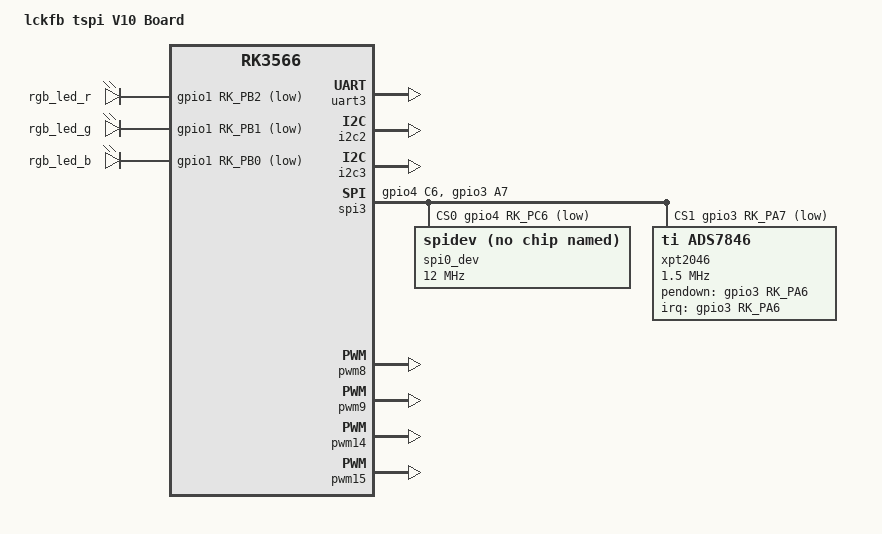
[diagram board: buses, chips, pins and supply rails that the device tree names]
// SPDX-License-Identifier: (GPL-2.0+ OR MIT)
/*
 * Copyright (c) 2020 Rockchip Electronics Co., Ltd.
 *
 */

 /*********************************************************************
 *           立创开发板不靠卖板赚钱，以培养中国工程师为己任  
 *         泰山派软硬件资料与相关扩展板软硬件资料官网全部开源
 *                      开发板官网：www.lckfb.com            
 *                     立创论坛：oshwhub.com/forum           
 *            关注B站：【立创开发板】，掌握我们的最新动态！  
 *********************************************************************
 * 文件名：tspi-rk3566-user-v10.dtsi
 * 描述：用户自定义层
 * 更新:
 * 时间          作者           联系           说明
 * 2023-09-13   吴才成    1378913492@qq.com   v1.0.0
 *********************************************************************/
/dts-v1/;

#include <dt-bindings/gpio/gpio.h>
#include <dt-bindings/display/media-bus-format.h>
#include <dt-bindings/pinctrl/rockchip.h>
#include "rk3566.dtsi"
#include <dt-bindings/display/rockchip_vop.h>


//tspi核心配置层，这里是几乎后期不需要怎么改动
#include "tspi-rk3566-core-v10.dtsi"

//【开/关】EDP 显示屏幕配置，用户可以基于此复制自己的屏幕，注意EDP与MIPI屏幕互斥，因为共用了VOP如果需要同显自行修改
// #include "tspi-rk3566-edp-v10.dtsi"

//【开/关】mipi 显示屏幕配置，用户可以基于此复制自己的屏幕，注意EDP与MIPI屏幕互斥，因为共用了VOP如果需要同显自行修改
// #include "tspi-rk3566-dsi-v10.dtsi"

//【开/关】HDMI 显示屏幕配置，里面内容几乎可以不用动，如果不需要hdmi显示直接注释掉即可
#include "tspi-rk3566-hdmi-v10.dtsi"

//【开/关】摄像头 目前视频的是ov5659
#include "tspi-rk3566-csi-v10.dtsi"

//【开/关】下方是用户定义层，所有用户修改理论上在此下方修改就好了
/ {
	model = "lckfb tspi V10 Board";
	compatible = "lckfb,tspi-v10", "rockchip,rk3566";

	rk_headset: rk-headset {
		compatible = "rockchip_headset";
		headset_gpio = <&gpio0 RK_PC5 GPIO_ACTIVE_HIGH>;
		pinctrl-names = "default";
		pinctrl-0 = <&hp_det>;
	};

	leds: leds {
		compatible = "gpio-leds";
		rgb_led_r: rgb-led-r {
			gpios = <&gpio1 RK_PB2 GPIO_ACTIVE_LOW>;
			linux,default-trigger = "timer";
			linux,delay-reg = <0>;   		// 延时注册
			linux,blink-delay-on = <500>; 	// 打开时间
			linux,blink-delay-off = <500>;	// 关闭时间
		};
		rgb_led_g: rgb-led-g {
			gpios = <&gpio1 RK_PB1 GPIO_ACTIVE_LOW>;
			linux,default-trigger = "timer";
			linux,delay-reg = <100>;   		// 延时注册
			linux,blink-delay-on = <1000>; 
			linux,blink-delay-off = <1000>;
		};
		rgb_led_b: rgb-led-b {
			gpios = <&gpio1 RK_PB0 GPIO_ACTIVE_LOW>;
			linux,default-trigger = "timer";
			linux,delay-reg = <100>;  		// 延时注册
			linux,blink-delay-on = <1500>; 
			linux,blink-delay-off = <1500>;
		};
	};

};

&pinctrl {
	headphone {
		hp_det: hp-det {
			rockchip,pins = <0 RK_PC5 RK_FUNC_GPIO &pcfg_pull_none>;
		};
	};

	xpt2046-touchscreen {
		xpt2046_int_pin: xpt2046-int-pin {
			rockchip,pins = <3 RK_PA5 RK_FUNC_GPIO &pcfg_pull_none>;
		};
	};

	spi3 {
		spi3_cs0n: spi3-cs0n {
			rockchip,pins = <4 RK_PC6 RK_FUNC_GPIO &pcfg_pull_up_drv_level_2>;
		};

		spi3_cs1n: spi3-cs1n {
			rockchip,pins = <3 RK_PA7 RK_FUNC_GPIO &pcfg_pull_up_drv_level_2>;
		};
	};
};

//用户三色灯
&leds {
	status = "okay";
};

//耳机插入检测，不使用扩展板情况需关闭，否则默认会检测到耳机插入
&rk_headset {
	status = "disabled";
};

//用户串口3
&uart3 {
	status = "okay";
	pinctrl-names = "default";
	pinctrl-0 = <&uart3m1_xfer>;
};

//用户I2C2
&i2c2 {
	status = "okay";

	/*添加你的I2C设备参考
	gt1x: gt1x@14 {
		compatible = "goodix,gt1x";
		reg = <0x14>;
		pinctrl-names = "default";
		pinctrl-0 = <&touch_gpio>;
		goodix,rst-gpio = <&gpio0 RK_PB6 GPIO_ACTIVE_HIGH>;
		goodix,irq-gpio = <&gpio0 RK_PB5 IRQ_TYPE_LEVEL_LOW>;
	};*/
};

&i2c3 {
	status = "okay";
	pinctrl-names = "default";
	pinctrl-0 = <&i2c3m1_xfer>;
	/*添加你的I2C设备参考
	gt1x: gt1x@14 {
		compatible = "goodix,gt1x";
		reg = <0x14>;
		pinctrl-names = "default";
		pinctrl-0 = <&touch_gpio>;
		goodix,rst-gpio = <&gpio0 RK_PB6 GPIO_ACTIVE_HIGH>;
		goodix,irq-gpio = <&gpio0 RK_PB5 IRQ_TYPE_LEVEL_LOW>;
	};*/
};


&spi3 {
	status = "okay";
	max-freq = <48000000>;
	dma-names = "tx","rx";
	pinctrl-names = "default", "high_speed";
	pinctrl-0 = <&spi3_cs0n &spi3_cs1n &spi3m1_pins>;
	pinctrl-1 = <&spi3_cs0n &spi3_cs1n &spi3m1_pins_hs>;
	cs-gpios = <&gpio4 RK_PC6 GPIO_ACTIVE_LOW>, <&gpio3 RK_PA7 GPIO_ACTIVE_LOW>;
    
	spi0_dev@0 {
        compatible = "rockchip,spidev";
        reg = <0>;
        spi-max-frequency = <12000000>;
        spi-lsb-first;
		status = "okay";
    };

	xpt2046@1 {
		pinctrl-names = "default";
		pinctrl-0 = <&xpt2046_int_pin>;
		reg = <1>;
		compatible = "ti,ads7846";
		interrupt-parent = <&gpio3>;
		interrupts = <RK_PA6 0>;
		spi-max-frequency = <1500000>;
		pendown-gpio = <&gpio3 RK_PA6 0>;
		ti,x-min = /bits/ 16 <0>;
		ti,x-max = /bits/ 16 <0xfff>;
		ti,y-min = /bits/ 16 <0>;
		ti,y-max = /bits/ 16 <0xfff>;
		ti,x-plate-ohms = /bits/ 16 <180>;
		ti,pressure-max = /bits/ 16 <512>;
		ti,debounce-max = /bits/ 16 <10>;
		ti,debounce-tol = /bits/ 16 <30>;
		ti,debounce-rep = /bits/ 16 <1>;
		ti,settle-delay-usec = /bits/ 16 <150>;
		ti,keep-vref-on = <1>;
		/*
		 * Do not set to wakeup source,
		 * cause TL3568-EVM board will make xpt2046
		 * int pin level change when suspend, this
		 * will auto resume TL3568-EVM board.
		 */
		/delete-property/ linux,wakeup;
		/delete-property/ wakeup-source;
	};
};

&pwm8 {
	status = "okay";
};

&pwm9 {
	status = "okay";
};

&pwm14 {
	status = "okay";
};

//pwd 15遥控器
&pwm15 {
	status = "okay";
	compatible = "rockchip,remotectl-pwm";
	remote_pwm_id = <3>;
	handle_cpu_id = <1>;
	remote_support_psci = <0>;
	pinctrl-names = "default";
	pinctrl-0 = <&pwm15m0_pins>;

	//用户自定方法：adb设置输出日志并通过dmesg确定usercode=address与key_table=command
	//echo 1 > sys/module/rockchip_pwm_remotectl/parameters/code_print
	//键值可在 include/dt-bindings/input/linux-event-codes.h 中查找
	ir_key1 {
		rockchip,usercode = <0xff00>;
		rockchip,key_table =
			<0xf2	KEY_MENU>,
			<0xe9	KEY_BACK>,
			<0xe3	KEY_ENTER>,
			<0xe7	KEY_UP>,
			<0xad	KEY_DOWN>,
			<0xf7	KEY_LEFT>,
			<0xa5	KEY_RIGHT>,
			<0xba	KEY_1>,
			<0xb9	KEY_2>,
			<0xb8	KEY_3>,
			<0xbb	KEY_4>,
			<0xbf	KEY_5>,
			<0xbc	KEY_6>,
			<0xf8	KEY_7>,
			<0xea	KEY_8>,
			<0xf6	KEY_9>,
			<0xe6	KEY_0>;
	};
};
